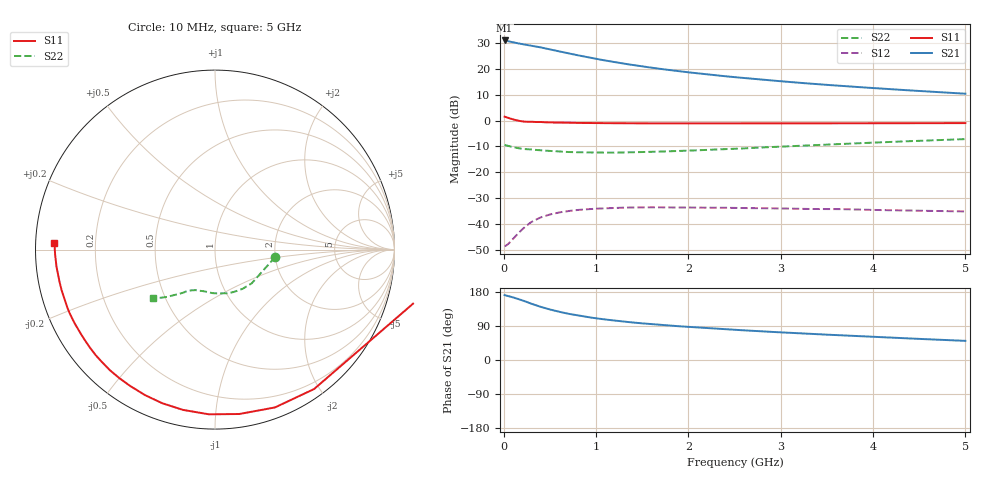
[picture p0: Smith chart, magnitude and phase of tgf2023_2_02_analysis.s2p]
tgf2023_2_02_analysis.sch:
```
<Qucs Schematic 25.1.2>
<Properties>
  <View=17,-65,1182,586,1.89862,0,0>
  <Grid=10,10,1>
  <DataSet=tgf2023_2_02_analysis.dat>
  <DataDisplay=tgf2023_2_02_analysis.dpl>
  <OpenDisplay=0>
  <Script=tgf2023_2_02_analysis.m>
  <RunScript=0>
  <showFrame=0>
  <FrameText0=Title>
  <FrameText1=Drawn By:>
  <FrameText2=Date:>
  <FrameText3=Revision:>
</Properties>
<Symbol>
</Symbol>
<Components>
  <Pac P1 1 380 490 15 -21 0 1 "1" 1 "50 Ohm" 1 "0 dBm" 0 "1 MHz" 0 "26.85" 0 "true" 0>
  <GND * 1 380 520 0 0 0 0>
  <IProbe Pr2_drain1 1 720 250 -87 -9 0 3>
  <GND * 1 720 120 0 0 0 1>
  <Pac P2 1 910 490 18 -26 0 1 "2" 1 "50 Ohm" 1 "0 dBm" 0 "1 MHz" 0 "26.85" 0 "true" 0>
  <GND * 1 910 520 0 0 0 0>
  <GND * 1 620 470 0 0 0 0>
  <GND * 1 620 120 0 0 0 0>
  <Vdc V1 1 590 120 -26 -54 0 2 "-2.8 V" 1>
  <Vdc V2 1 720 150 -64 -26 0 3 "28 V" 1>
  <IProbe Pr1_gate1 1 500 220 -78 -9 0 3>
  <DCFeed DC_Feed1 1 500 350 -88 -6 0 3 "1 uH" 0>
  <DCFeed DC_Feed2 1 720 360 -87 -9 0 3 "1 uH" 0>
  <DCBlock DC_Block1 1 440 440 -7 21 0 0 "1 uF" 0>
  <DCBlock DC_Block2 1 800 440 -9 21 0 0 "1 uF" 0>
  <Eqn Eqn1 1 160 -10 -31 17 0 0 "dBS11=dB(S[1,1])" 1 "yes" 0>
  <Eqn Eqn2 1 160 80 -31 17 0 0 "dBS21=dB(S[2,1])" 1 "yes" 0>
  <Eqn Eqn3 1 300 80 -31 17 0 0 "dBS12=dB(S[1,2])" 1 "yes" 0>
  <Eqn Eqn4 1 300 -10 -31 17 0 0 "dBS22=dB(S[2,2])" 1 "yes" 0>
  <.DC DC1 1 140 160 0 38 0 0 "26.85" 0 "0.001" 0 "1 pA" 0 "1 uV" 0 "no" 0 "150" 0 "no" 0 "none" 0 "CroutLU" 0>
  <.SP SP1 1 130 240 0 64 0 0 "lin" 1 "10 MHz" 1 "10 GHz" 1 "1000" 1 "no" 0 "1" 0 "2" 0 "no" 0 "no" 0>
  <SPfile X1 1 620 440 -315 -54 0 0 "/home/danieltyukov/workspace/tue/tue-bep/s_params_and_scripts/TGF2023-2-02-s2p/TGF2023-2-02_28V_125mA.s2p" 1 "rectangular" 0 "linear" 0 "open" 0 "2" 0>
</Components>
<Wires>
  <380 440 380 460 "" 0 0 0 "">
  <380 440 410 440 "" 0 0 0 "">
  <470 440 500 440 "" 0 0 0 "">
  <720 390 720 440 "" 0 0 0 "">
  <720 280 720 330 "" 0 0 0 "">
  <720 180 720 220 "" 0 0 0 "">
  <720 440 770 440 "" 0 0 0 "">
  <830 440 910 440 "" 0 0 0 "">
  <910 440 910 460 "" 0 0 0 "">
  <650 440 720 440 "" 0 0 0 "">
  <500 440 590 440 "" 0 0 0 "">
  <500 380 500 440 "" 0 0 0 "">
  <500 250 500 320 "" 0 0 0 "">
  <500 120 560 120 "" 0 0 0 "">
  <500 120 500 190 "" 0 0 0 "">
</Wires>
<Diagrams>
</Diagrams>
<Paintings>
</Paintings>
```
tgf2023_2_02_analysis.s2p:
# HZ S RI R 50
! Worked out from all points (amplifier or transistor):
!   500 points, 10 MHz to 5 GHz, reference 50 ohm
!   highest |S21| = 31.0 dB at 10 MHz (marker M1)
!   |S21| within 3 dB of that: start of sweep to 440.8 MHz
!   unconditionally stable (mu >= 1): 4.552 GHz to end of sweep
!   at 840 MHz: K = 0.21, MSG = 29.8 dB, |S12| = -34.5 dB
!   at 2.51 GHz: K = 0.55, MSG = 25.3 dB, |S12| = -33.8 dB
!   at 5 GHz: K = 1.09, MAG = 20.9 dB, |S12| = -35.2 dB
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1e7  1.167 -0.2466  -35.24 5.427  -0.00204 0.00309  0.3356 -0.0411
2.9e8  0.5736 -0.7584  -24.55 14.5  0.00504 0.0093  0.2086 -0.1833
4.1e8  0.3145 -0.883  -19.77 16.82  0.00816 0.0108  0.1478 -0.2209
5.2e8  0.1015 -0.9163  -15.81 17.44  0.0106 0.0113  0.1016 -0.2366
6.8e8  -0.1499 -0.8979  -11.18 17.11  0.0136 0.0111  0.0432 -0.2438
9.2e8  -0.4045 -0.8017  -6.489 15.44  0.0165 0.01  -0.016 -0.2422
1.19e9  -0.5767 -0.68  -3.403 13.27  0.0184 0.00883  -0.0579 -0.2326
1.51e9  -0.6937 -0.5506  -1.262 11.09  0.0196 0.00738  -0.0938 -0.2281
2.51e9  -0.8356 -0.2857  1.252 6.81  0.0197 0.00504  -0.1633 -0.2337
3.58e9  -0.8796 -0.1178  1.959 4.391  0.0187 0.00493  -0.2362 -0.2554
5e9  -0.8943 0.0362  2.112 2.564  0.0163 0.00612  -0.345 -0.2711
